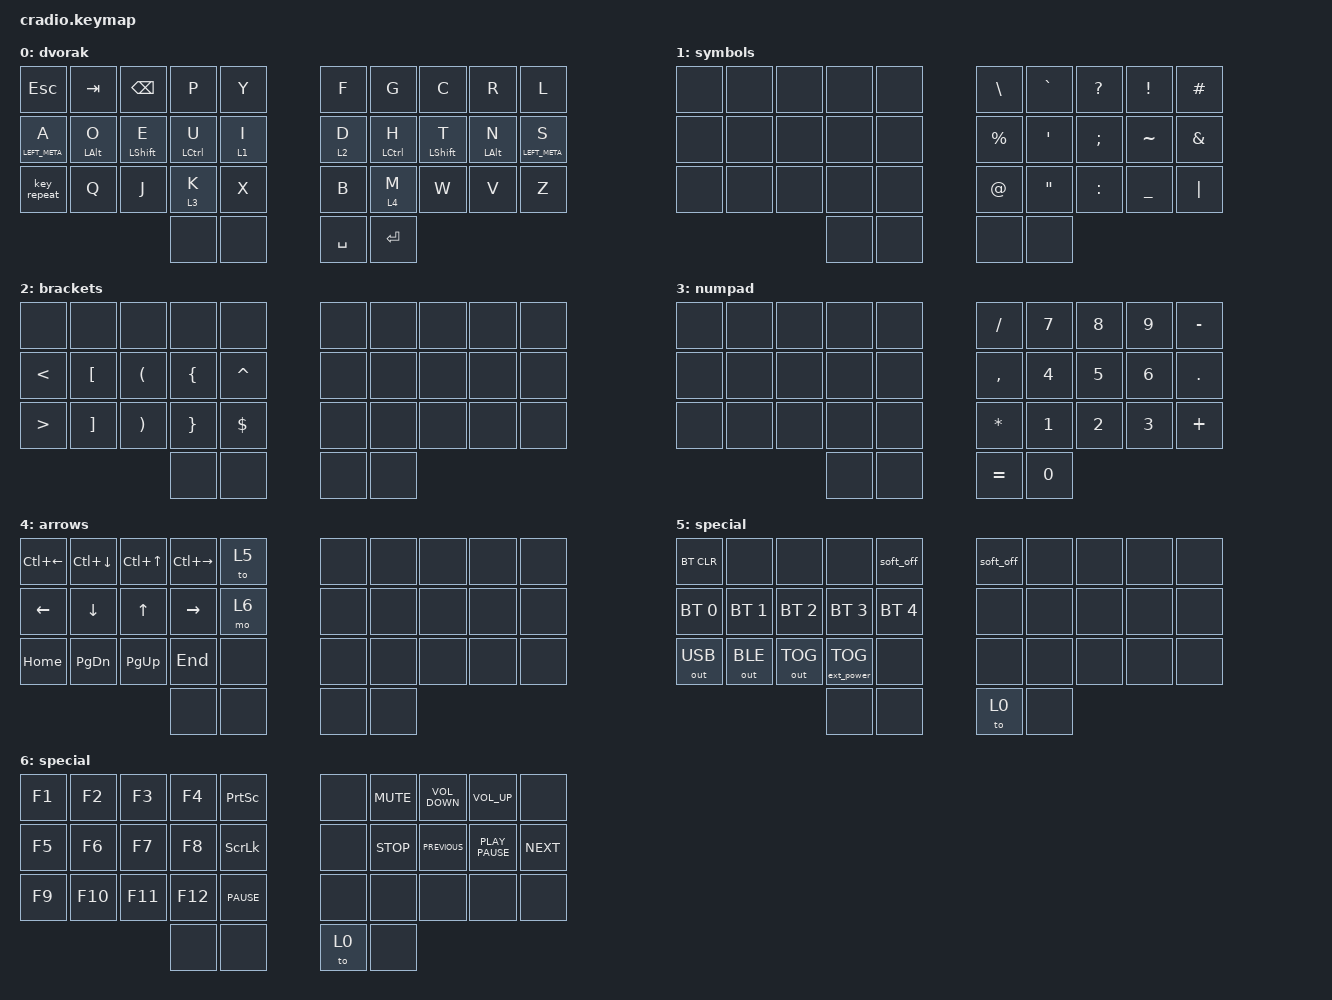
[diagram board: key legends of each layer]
#include <behaviors.dtsi>
#include <dt-bindings/zmk/bt.h>
#include <dt-bindings/zmk/ext_power.h>
#include <dt-bindings/zmk/keys.h>
#include <dt-bindings/zmk/outputs.h>

&soft_off { hold-time-ms = <3000>; };

&mt {
    tapping-term-ms = <350>;
    quick-tap-ms = <50>;
};

/ {
    combos { compatible = "zmk,combos"; };

    keymap {
        compatible = "zmk,keymap";

        dvorak {
            bindings = <
&kp ESCAPE       &kp TAB         &kp BACKSPACE     &kp P               &kp Y      &kp F      &kp G               &kp C             &kp R           &kp L
&mt LEFT_META A  &mt LEFT_ALT O  &mt LEFT_SHIFT E  &mt LEFT_CONTROL U  &lt 1 I    &lt 2 D    &mt LEFT_CONTROL H  &mt LEFT_SHIFT T  &mt LEFT_ALT N  &mt LEFT_META S
&key_repeat      &kp Q           &kp J             &lt 3 K             &kp X      &kp B      &lt 4 M             &kp W             &kp V           &kp Z
                                                   &none               &none      &kp SPACE  &kp ENTER
            >;

            display-name = "dvorak";
        };

        symbols {
            bindings = <
&none  &none  &none  &none  &none    &kp BACKSLASH  &kp GRAVE          &kp QUESTION   &kp EXCLAMATION  &kp HASH
&none  &none  &none  &none  &none    &kp PERCENT    &kp APOS           &kp SEMICOLON  &kp TILDE        &kp AMPERSAND
&none  &none  &none  &none  &none    &kp AT_SIGN    &kp DOUBLE_QUOTES  &kp COLON      &kp UNDERSCORE   &kp PIPE
                     &none  &none    &none          &none
            >;

            display-name = "symbols";
        };

        brackets {
            bindings = <
&none             &none     &none                  &none            &none         &none  &none  &none  &none  &none
&kp LESS_THAN     &kp LBKT  &kp LEFT_PARENTHESIS   &kp LEFT_BRACE   &kp CARET     &none  &none  &none  &none  &none
&kp GREATER_THAN  &kp RBKT  &kp RIGHT_PARENTHESIS  &kp RIGHT_BRACE  &kp DOLLAR    &none  &none  &none  &none  &none
                                                   &none            &none         &none  &none
            >;

            display-name = "brackets";
        };

        numpad {
            bindings = <
&none  &none  &none  &none  &none    &kp FSLH      &kp NUMBER_7  &kp NUMBER_8  &kp NUMBER_9  &kp MINUS
&none  &none  &none  &none  &none    &kp COMMA     &kp NUMBER_4  &kp NUMBER_5  &kp NUMBER_6  &kp PERIOD
&none  &none  &none  &none  &none    &kp ASTERISK  &kp NUMBER_1  &kp NUMBER_2  &kp NUMBER_3  &kp PLUS
                     &none  &none    &kp EQUAL     &kp NUMBER_0
            >;

            display-name = "numpad";
        };

        arrows {
            bindings = <
&kp LC(LEFT_ARROW)  &kp LC(DOWN_ARROW)  &kp LC(UP_ARROW)  &kp LC(RIGHT_ARROW)  &to 5    &none  &none  &none  &none  &none
&kp LEFT            &kp DOWN            &kp UP            &kp RIGHT            &mo 6    &none  &none  &none  &none  &none
&kp HOME            &kp PAGE_DOWN       &kp PAGE_UP       &kp END              &none    &none  &none  &none  &none  &none
                                                          &none                &none    &none  &none
            >;

            display-name = "arrows";
        };

        hardware {
            bindings = <
&bt BT_CLR    &none         &none         &none              &soft_off       &soft_off  &none  &none  &none  &none
&bt BT_SEL 0  &bt BT_SEL 1  &bt BT_SEL 2  &bt BT_SEL 3       &bt BT_SEL 4    &none      &none  &none  &none  &none
&out OUT_USB  &out OUT_BLE  &out OUT_TOG  &ext_power EP_TOG  &none           &none      &none  &none  &none  &none
                                          &none              &none           &to 0      &none
            >;

            display-name = "special";
        };

        navigation {
            bindings = <
&kp F1  &kp F2   &kp F3   &kp F4   &kp PRINTSCREEN    &none  &kp K_MUTE  &kp C_VOLUME_DOWN  &kp C_VOLUME_UP   &none
&kp F5  &kp F6   &kp F7   &kp F8   &kp SCROLLLOCK     &none  &kp K_STOP  &kp K_PREVIOUS     &kp K_PLAY_PAUSE  &kp K_NEXT
&kp F9  &kp F10  &kp F11  &kp F12  &kp C_PAUSE        &none  &none       &none              &none             &none
                          &none    &none              &to 0  &none
            >;

            display-name = "special";
        };
    };
};
